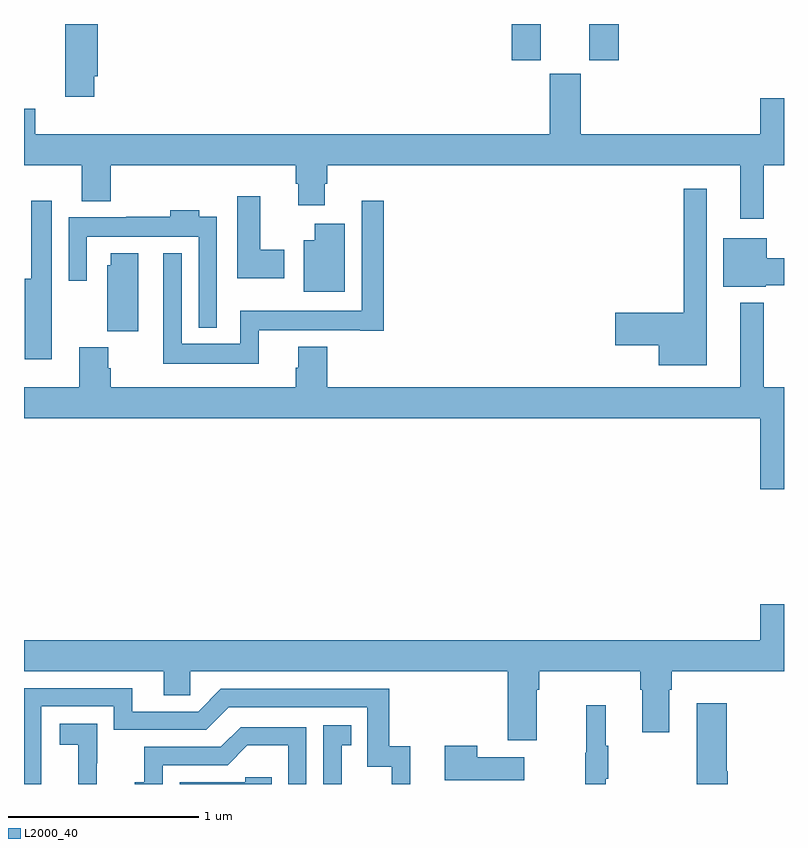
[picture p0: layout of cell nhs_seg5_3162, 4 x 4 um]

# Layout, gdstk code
import gdstk
lib = gdstk.Library(unit=1e-6, precision=1e-09)
def R(c, l, rs):  # rectangles x0, y0, x1, y1
    for r in rs: c.add(gdstk.rectangle(r[:2], r[2:], *l))
def P(c, l, *ps):  # polygons
    for p in ps: c.add(gdstk.Polygon(p, *l))
L2000_40 = (2000, 40)

nhs_seg5_3162 = lib.new_cell('nhs_seg5_3162')
R(nhs_seg5_3162, L2000_40, [(295.568,894.609,295.72,894.799), (295.976,894.609,296.129,894.799)])
P(nhs_seg5_3162, L2000_40, [(293.369,894.525),(293.387,894.525),(293.387,894.799),(293.216,894.799),(293.216,894.416),(293.369,894.416)],
  [(296.893,894.056),(297,894.056),(297,894.409),(296.876,894.409),(296.876,894.22),(295.93,894.22),(295.93,894.537),(295.766,894.537),(295.766,894.22),(293.06,894.22),(293.06,894.353),(293,894.353),(293,894.056),(293.303,894.056),(293.303,893.867),(293.456,893.867),(293.456,894.056),(294.431,894.056),(294.431,893.958),(294.443,893.958),(294.443,893.844),(294.583,893.844),(294.583,893.958),(294.596,893.958),(294.596,894.056),(296.771,894.056),(296.771,893.775),(296.893,893.775)],
  [(296.593,893.932),(296.472,893.932),(296.472,893.279),(296.112,893.279),(296.112,893.108),(296.342,893.108),(296.342,893.003),(296.593,893.003)],
  [(294.37,893.61),(294.244,893.61),(294.244,893.893),(294.122,893.893),(294.122,893.462),(294.37,893.462)],
  [(293.146,893.354),(293.145,893.354),(293.145,893.869),(293.037,893.869),(293.037,893.458),(293.005,893.458),(293.005,893.034),(293.146,893.034)],
  [(294.236,893.186),(294.77,893.186),(294.77,893.184),(294.893,893.184),(294.893,893.869),(294.777,893.869),(294.777,893.29),(294.138,893.29),(294.138,893.116),(293.829,893.116),(293.829,893.593),(293.732,893.593),(293.732,893.012),(294.236,893.012)],
  [(294.015,893.785),(293.923,893.785),(293.923,893.818),(293.771,893.818),(293.771,893.785),(293.539,893.785),(293.539,893.782),(293.235,893.782),(293.235,893.448),(293.331,893.448),(293.331,893.678),(293.919,893.678),(293.919,893.201),(294.015,893.201)],
  [(294.688,893.749),(294.53,893.749),(294.53,893.662),(294.473,893.662),(294.473,893.39),(294.688,893.39)],
  [(296.904,893.423),(297,893.423),(297,893.565),(296.908,893.565),(296.908,893.671),(296.681,893.671),(296.681,893.417),(296.904,893.417)],
  [(293.602,893.593),(293.456,893.593),(293.456,893.529),(293.438,893.529),(293.438,893.182),(293.602,893.182)],
  [(296.876,892.35),(297,892.35),(297,892.888),(296.893,892.888),(296.893,893.332),(296.771,893.332),(296.771,892.888),(294.596,892.888),(294.596,893.101),(294.443,893.101),(294.443,892.989),(294.431,892.989),(294.431,892.888),(293.456,892.888),(293.456,892.988),(293.443,892.988),(293.443,893.097),(293.291,893.097),(293.291,892.888),(293,892.888),(293,892.724),(296.876,892.724)],
  [(295.699,891.296),(295.712,891.296),(295.712,891.392),(296.243,891.392),(296.243,891.296),(296.255,891.296),(296.255,891.072),(296.395,891.072),(296.395,891.296),(296.408,891.296),(296.408,891.392),(297,891.392),(297,891.745),(296.876,891.745),(296.876,891.556),(293,891.556),(293,891.392),(293.735,891.392),(293.735,891.265),(293.874,891.265),(293.874,891.392),(295.547,891.392),(295.547,891.03),(295.699,891.03)],
  [(293.091,891.207),(293.472,891.207),(293.472,891.084),(293.958,891.084),(294.078,891.204),(294.807,891.204),(294.807,890.889),(294.936,890.889),(294.936,890.799),(295.034,890.799),(295.034,890.998),(294.923,890.998),(294.923,891.3),(294.036,891.3),(293.916,891.18),(293.569,891.18),(293.569,891.303),(293,891.303),(293,890.799),(293.091,890.799)],
  [(296.704,890.865),(296.699,890.865),(296.699,891.223),(296.54,891.223),(296.54,890.799),(296.704,890.799)],
  [(296.063,890.827),(296.074,890.827),(296.074,891.001),(296.063,891.001),(296.063,891.214),(295.96,891.214),(295.96,890.964),(295.953,890.964),(295.953,890.799),(296.063,890.799)],
  [(293.384,890.909),(293.385,890.909),(293.385,891.115),(293.187,891.115),(293.187,891.005),(293.285,891.005),(293.285,890.799),(293.384,890.799)],
  [(294.673,891.003),(294.722,891.003),(294.722,891.109),(294.576,891.109),(294.576,890.799),(294.673,890.799)],
  [(293.73,890.898),(294.072,890.898),(294.176,891.002),(294.39,891.002),(294.39,890.799),(294.486,890.799),(294.486,891.099),(294.14,891.099),(294.035,890.994),(293.632,890.994),(293.632,890.809),(293.583,890.809),(293.583,890.799),(293.73,890.799)],
  [(295.633,890.941),(295.385,890.941),(295.385,891.001),(295.214,891.001),(295.214,890.819),(295.633,890.819)],
  [(294.305,890.835),(294.165,890.835),(294.165,890.808),(293.82,890.808),(293.82,890.799),(294.305,890.799)])

lib.write_gds('nhs_seg5_3162.gds')
